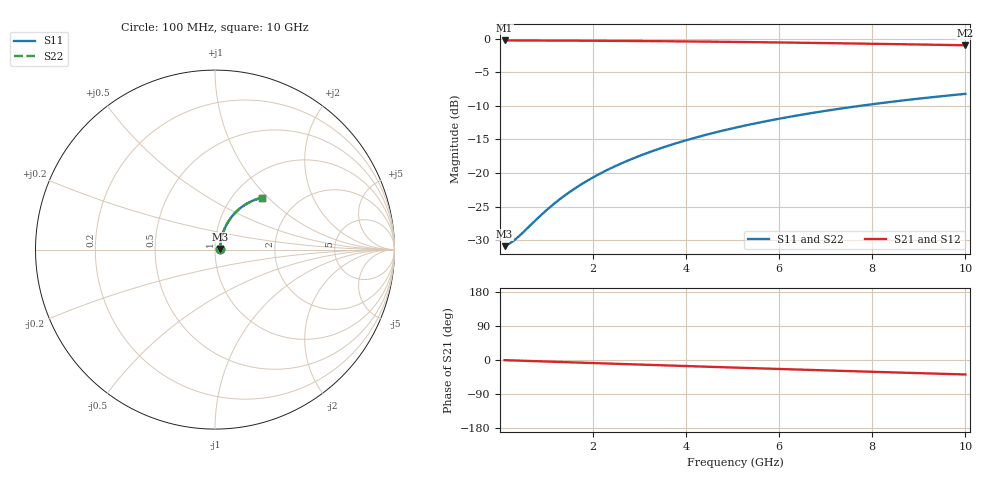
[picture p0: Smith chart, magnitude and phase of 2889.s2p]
# Hz S RI R 50.00
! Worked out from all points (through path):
!   100 points, 100 MHz to 10 GHz, reference 50 ohm
!   highest |S21| = -0.25 dB at 100 MHz (marker M1); lowest = -1.0 dB at 10 GHz (marker M2)
!   group delay of S21, straight-line fit = 10.6 ps
!   lowest |S11| = -30.9 dB at 100 MHz (marker M3), VSWR 1.06, Z = 52.9 + j0.448 ohm
!   |S11| at or under -10 dB: start of sweep to 7.731 GHz
!   |S22| runs from -30.9 to -8.2 dB; largest |S21 - S12| = 0
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1e8  0.0282 0.00423  0.9718 -0.00685  0.9718 -0.00685  0.0282 0.00423
2e8  0.0285 0.00846  0.9715 -0.0137  0.9715 -0.0137  0.0285 0.00846
3e8  0.0287 0.0127  0.9712 -0.0205  0.9712 -0.0205  0.0287 0.0127
4e8  0.0291 0.0169  0.9709 -0.0274  0.9709 -0.0274  0.0291 0.0169
9e8  0.0314 0.0379  0.9683 -0.0614  0.9683 -0.0614  0.0314 0.0379
1.2e9  0.0334 0.0504  0.9661 -0.0817  0.9661 -0.0817  0.0334 0.0504
1.5e9  0.0359 0.0627  0.9633 -0.102  0.9633 -0.102  0.0359 0.0627
1.8e9  0.0389 0.0749  0.9599 -0.122  0.9599 -0.122  0.0389 0.0749
2.1e9  0.0425 0.087  0.956 -0.142  0.956 -0.142  0.0425 0.087
2.5e9  0.0479 0.1028  0.9499 -0.1682  0.9499 -0.1682  0.0479 0.1028
2.9e9  0.0542 0.1182  0.9428 -0.1941  0.9428 -0.1941  0.0542 0.1182
3.4e9  0.0632 0.1369  0.9327 -0.2259  0.9327 -0.2259  0.0632 0.1369
3.8e9  0.0712 0.1512  0.9236 -0.2507  0.9236 -0.2507  0.0712 0.1512
4.2e9  0.08 0.165  0.9137 -0.2751  0.9137 -0.2751  0.08 0.165
4.6e9  0.0895 0.1783  0.903 -0.2988  0.903 -0.2988  0.0895 0.1783
5.1e9  0.1022 0.1939  0.8886 -0.3277  0.8886 -0.3277  0.1022 0.1939
5.9e9  0.1245 0.2169  0.8632 -0.3717  0.8632 -0.3717  0.1245 0.2169
6.7e9  0.1486 0.237  0.8354 -0.4131  0.8354 -0.4131  0.1486 0.237
7.5e9  0.1743 0.2542  0.8056 -0.4515  0.8056 -0.4515  0.1743 0.2542
8.4e9  0.2046 0.27  0.7701 -0.4913  0.7701 -0.4913  0.2046 0.27
9.2e9  0.2323 0.2808  0.7373 -0.5235  0.7373 -0.5235  0.2323 0.2808
1e10  0.2603 0.2888  0.7035 -0.5529  0.7035 -0.5529  0.2603 0.2888
